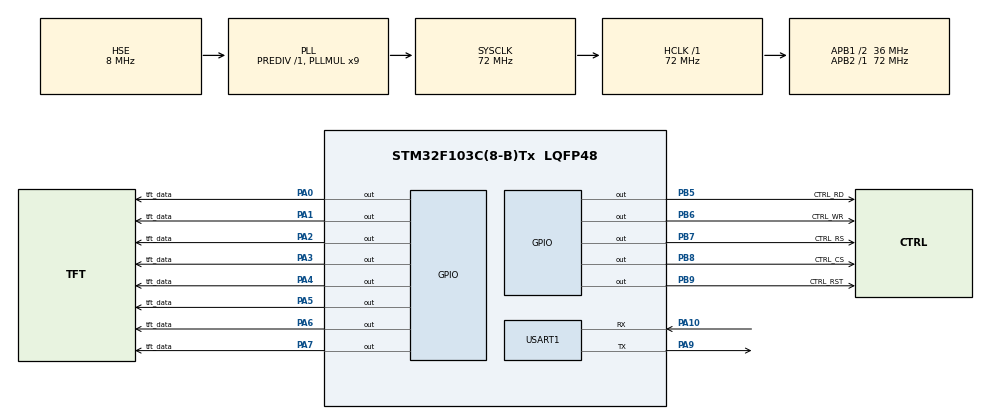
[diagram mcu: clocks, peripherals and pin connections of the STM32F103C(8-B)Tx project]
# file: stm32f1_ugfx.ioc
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Dma.MEMTOMEM.0.Direction=DMA_MEMORY_TO_MEMORY
Dma.MEMTOMEM.0.Instance=DMA1_Channel1
Dma.MEMTOMEM.0.MemDataAlignment=DMA_MDATAALIGN_BYTE
Dma.MEMTOMEM.0.MemInc=DMA_MINC_ENABLE
Dma.MEMTOMEM.0.Mode=DMA_NORMAL
Dma.MEMTOMEM.0.PeriphDataAlignment=DMA_PDATAALIGN_BYTE
Dma.MEMTOMEM.0.PeriphInc=DMA_PINC_ENABLE
Dma.MEMTOMEM.0.Priority=DMA_PRIORITY_HIGH
Dma.Request0=MEMTOMEM
Mcu.Family=STM32F1
Mcu.Name=STM32F103C(8-B)Tx
Mcu.Package=LQFP48
NVIC.PriorityGroup=NVIC_PRIORITYGROUP_4
PA0-WKUP.GPIO_Label=tft_data
PA0-WKUP.Signal=GPIO_Output
PA1.GPIO_Label=tft_data
PA1.Signal=GPIO_Output
PA10.Mode=Asynchronous
PA10.Signal=USART1_RX
PA13.Mode=Serial_Wire
PA13.Signal=SYS_JTMS-SWDIO
PA14.Mode=Serial_Wire
PA14.Signal=SYS_JTCK-SWCLK
PA2.GPIO_Label=tft_data
PA2.Signal=GPIO_Output
PA3.GPIO_Label=tft_data
PA3.Signal=GPIO_Output
PA4.GPIO_Label=tft_data
PA4.Signal=GPIO_Output
PA5.GPIO_Label=tft_data
PA5.Signal=GPIO_Output
PA6.GPIO_Label=tft_data
PA6.Signal=GPIO_Output
PA7.GPIO_Label=tft_data
PA7.Signal=GPIO_Output
PA9.Mode=Asynchronous
PA9.Signal=USART1_TX
PB5.GPIO_Label=CTRL_RD
PB5.Signal=GPIO_Output
PB6.GPIO_Label=CTRL_WR
PB6.Signal=GPIO_Output
PB7.GPIO_Label=CTRL_RS
PB7.Signal=GPIO_Output
PB8.GPIO_Label=CTRL_CS
PB8.Signal=GPIO_Output
PB9.GPIO_Label=CTRL_RST
PB9.Signal=GPIO_Output
PD0-OSC_IN.Mode=HSE-External-Oscillator
PD0-OSC_IN.Signal=RCC_OSC_IN
PD1-OSC_OUT.Mode=HSE-External-Oscillator
PD1-OSC_OUT.Signal=RCC_OSC_OUT
ProjectManager.HeapSize=0x200
ProjectManager.StackSize=0x400
ProjectManager.TargetToolchain=Makefile
RCC.AHBFreq_Value=72000000
RCC.APB1CLKDivider=RCC_HCLK_DIV2
RCC.APB1Freq_Value=36000000
RCC.APB1TimFreq_Value=72000000
RCC.APB2Freq_Value=72000000
RCC.APB2TimFreq_Value=72000000
RCC.HCLKFreq_Value=72000000
RCC.PLLMUL=RCC_PLL_MUL9
RCC.PLLSourceVirtual=RCC_PLLSOURCE_HSE
RCC.SYSCLKFreq_VALUE=72000000
RCC.SYSCLKSource=RCC_SYSCLKSOURCE_PLLCLK
RCC.USBFreq_Value=72000000
USART1.VirtualMode=VM_ASYNC
board=custom

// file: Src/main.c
/* USER CODE BEGIN Header */
/**
  ******************************************************************************
  * @file           : main.c
  * @brief          : Main program body
  ******************************************************************************
  * @attention
  *
  * <h2><center>&copy; Copyright (c) 2020 STMicroelectronics.
  * All rights reserved.</center></h2>
  *
  * This software component is licensed by ST under BSD 3-Clause license,
  * the "License"; You may not use this file except in compliance with the
  * License. You may obtain a copy of the License at:
  *                        opensource.org/licenses/BSD-3-Clause
  *
  ******************************************************************************
  */
/* USER CODE END Header */

#include "main.h"
#include "dma.h"
#include "usart.h"
#include "gpio.h"

/* USER CODE BEGIN Includes */
#include "gfx.h"
#include "gdisp.h"
#include "ILI9488.h"
#include "math.h"
#define M_PI 3.14159
/* USER CODE END Includes */

/* USER CODE BEGIN PV */
/* Private variables ---------------------------------------------------------*/

/* USER CODE END PV */

void SystemClock_Config(void);
/* USER CODE BEGIN PFP */
/* Private function prototypes -----------------------------------------------*/

/* USER CODE END PFP */

int main(void)
{

  /* MCU Configuration--------------------------------------------------------*/

  /* Reset of all peripherals, Initializes the Flash interface and the Systick. */
  HAL_Init();

  /* Configure the system clock */
  SystemClock_Config();

  /* Initialize all configured peripherals */
  MX_GPIO_Init();
  MX_DMA_Init();
  MX_USART1_UART_Init();
  /* USER CODE BEGIN 2 */
  HAL_GPIO_WritePin(GPIOB,CTRL_WR_Pin,GPIO_PIN_SET);
  HAL_GPIO_WritePin(GPIOB,CTRL_RD_Pin,GPIO_PIN_SET);
  HAL_GPIO_WritePin(GPIOB,CTRL_RS_Pin,GPIO_PIN_SET);
  HAL_GPIO_WritePin(GPIOB,CTRL_CS_Pin,GPIO_PIN_RESET);

  MX_DMA_Init();
  MX_USART1_UART_Init();

  // Initialize the uGFX library
  gfxInit();
  gdispSetOrientation(GDISP_ROTATE_270);   // flip by degrees

  ILI9488DisplayOn();
  ILI9844NormalDisplayModeOn();

  font_t font1, font2;
  // gdispImage image;
  coord_t swidth, sheight;

  ILI9844NormalDisplayModeOn();
  // Change the display orientation
  //gdispSetOrientation(GDISP_ROTATE_LANDSCAPE); // 0 90 180 270
  gdispSetOrientation(GDISP_ROTATE_PORTRAIT);

  // Some misc stuff
  swidth = gdispGetWidth();
  sheight = gdispGetHeight();
  gdispFillArea(0, 0, swidth, sheight, Black);

  // Prepare the resources
  font1 = gdispOpenFont("DejaVuSans32");
  font2 = gdispOpenFont("DejaVuSans32_aa");
  // gdispImageOpenFile(&image, "ugfx_150x50_white.bmp");

  // Write some text
  gdispFillStringBox(25, 25, 280, 50, "uGFX!", font1, Black, White, justifyCenter);
  gdispFillStringBox(25, 70, 280, 50, "uGFX!", font2, Blue , Gray,  justifyCenter);

  // Code Here
  gdispDrawBox(10, 10, swidth/2, sheight/2, Yellow);
  gdispFillArea(swidth/2, sheight/2, swidth/2-10, sheight/2-10, Blue);
  gdispDrawLine(0, 0, swidth, sheight, Red);

  /* USER CODE END 2 */

  /* Infinite loop */
  /* USER CODE BEGIN WHILE */
  while (1)
  {
    gfxSleepMilliseconds(100);
    /* USER CODE END WHILE */

  }
}

void SystemClock_Config(void)
{
  RCC_OscInitTypeDef RCC_OscInitStruct = {0};
  RCC_ClkInitTypeDef RCC_ClkInitStruct = {0};

  /** Initializes the CPU, AHB and APB busses clocks
  */
  RCC_OscInitStruct.OscillatorType = RCC_OSCILLATORTYPE_HSE;
  RCC_OscInitStruct.HSEState = RCC_HSE_ON;
  RCC_OscInitStruct.HSEPredivValue = RCC_HSE_PREDIV_DIV1;
  RCC_OscInitStruct.HSIState = RCC_HSI_ON;
  RCC_OscInitStruct.PLL.PLLState = RCC_PLL_ON;
  RCC_OscInitStruct.PLL.PLLSource = RCC_PLLSOURCE_HSE;
  RCC_OscInitStruct.PLL.PLLMUL = RCC_PLL_MUL9;
  if (HAL_RCC_OscConfig(&RCC_OscInitStruct) != HAL_OK)
  {
    Error_Handler();
  }
  /** Initializes the CPU, AHB and APB busses clocks
  */
  RCC_ClkInitStruct.ClockType = RCC_CLOCKTYPE_HCLK|RCC_CLOCKTYPE_SYSCLK
                              |RCC_CLOCKTYPE_PCLK1|RCC_CLOCKTYPE_PCLK2;
  RCC_ClkInitStruct.SYSCLKSource = RCC_SYSCLKSOURCE_PLLCLK;
  RCC_ClkInitStruct.AHBCLKDivider = RCC_SYSCLK_DIV1;
  RCC_ClkInitStruct.APB1CLKDivider = RCC_HCLK_DIV2;
  RCC_ClkInitStruct.APB2CLKDivider = RCC_HCLK_DIV1;

  if (HAL_RCC_ClockConfig(&RCC_ClkInitStruct, FLASH_LATENCY_2) != HAL_OK)
  {
    Error_Handler();
  }
}

void Error_Handler(void)
{
  while(1)
  {
  }
}

/************************ (C) COPYRIGHT STMicroelectronics *****END OF FILE****/
